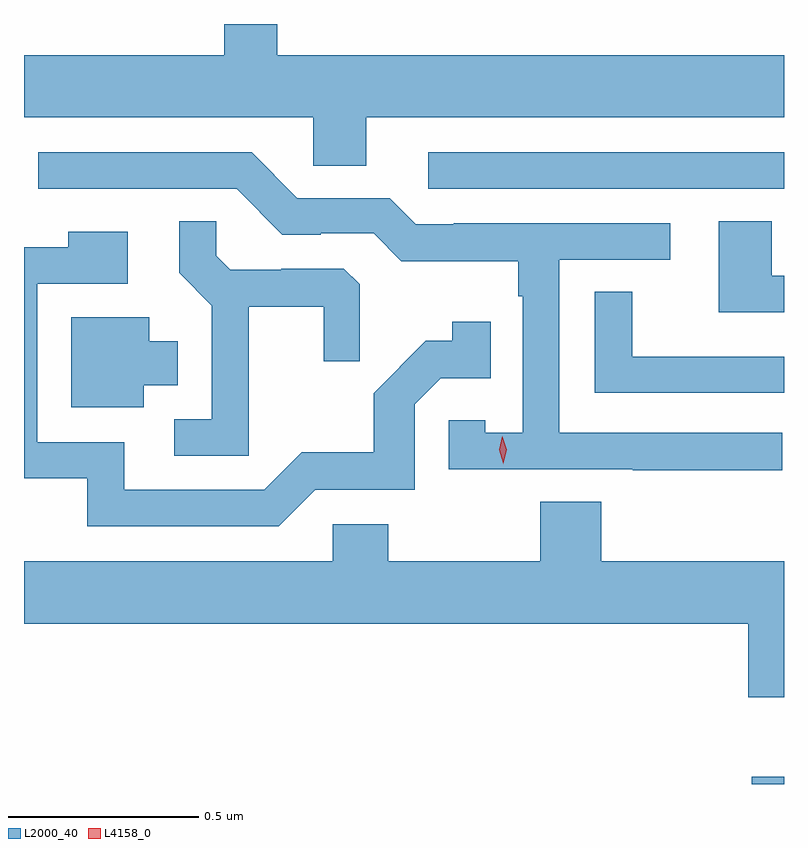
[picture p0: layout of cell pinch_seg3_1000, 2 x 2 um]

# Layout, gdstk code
import gdstk
lib = gdstk.Library(unit=1e-6, precision=1e-09)
def R(c, l, rs):  # rectangles x0, y0, x1, y1
    for r in rs: c.add(gdstk.rectangle(r[:2], r[2:], *l))
def P(c, l, *ps):  # polygons
    for p in ps: c.add(gdstk.Polygon(p, *l))
L2000_40 = (2000, 40)
L4158_0 = (4158, 0)

pinch_seg3_1000 = lib.new_cell('pinch_seg3_1000')
R(pinch_seg3_1000, L2000_40, [(470.36,736.458,470.445,736.477), (469.509,738.024,470.445,738.12)])
P(pinch_seg3_1000, L2000_40, [(469.345,738.212),(470.445,738.212),(470.445,738.376),(469.111,738.376),(469.111,738.458),(468.972,738.458),(468.972,738.376),(468.445,738.376),(468.445,738.212),(469.206,738.212),(469.206,738.085),(469.345,738.085)],
  [(470.44,737.382),(469.854,737.382),(469.854,737.838),(470.146,737.838),(470.146,737.934),(469.576,737.934),(469.576,737.931),(469.476,737.931),(469.407,738),(469.164,738),(469.044,738.12),(468.482,738.12),(468.482,738.024),(469.005,738.024),(469.125,737.904),(469.226,737.904),(469.226,737.907),(469.365,737.907),(469.438,737.834),(469.746,737.834),(469.746,737.741),(469.758,737.741),(469.758,737.383),(469.659,737.383),(469.659,737.415),(469.563,737.415),(469.563,737.286),(470.047,737.286),(470.047,737.284),(470.44,737.284)],
  [(469.037,737.714),(469.234,737.714),(469.234,737.571),(469.328,737.571),(469.328,737.773),(469.287,737.814),(469.122,737.814),(469.122,737.811),(468.988,737.811),(468.951,737.848),(468.951,737.939),(468.853,737.939),(468.853,737.803),(468.939,737.717),(468.939,737.418),(468.84,737.418),(468.84,737.322),(469.037,737.322)],
  [(470.445,737.796),(470.413,737.796),(470.413,737.939),(470.273,737.939),(470.273,737.7),(470.445,737.7)],
  [(469.212,737.232),(469.473,737.232),(469.473,737.457),(469.542,737.526),(469.673,737.526),(469.673,737.674),(469.572,737.674),(469.572,737.624),(469.502,737.624),(469.365,737.486),(469.365,737.331),(469.176,737.331),(469.077,737.232),(468.709,737.232),(468.709,737.358),(468.48,737.358),(468.48,737.775),(468.718,737.775),(468.718,737.911),(468.562,737.911),(468.562,737.871),(468.445,737.871),(468.445,737.262),(468.611,737.262),(468.611,737.136),(469.116,737.136)],
  [(470.445,737.582),(470.441,737.582),(470.441,737.583),(470.046,737.583),(470.046,737.753),(469.947,737.753),(469.947,737.487),(470.445,737.487)],
  [(468.76,737.507),(468.85,737.507),(468.85,737.623),(468.775,737.623),(468.775,737.686),(468.569,737.686),(468.569,737.45),(468.76,737.45)],
  [(470.445,737.044),(469.964,737.044),(469.964,737.201),(469.804,737.201),(469.804,737.044),(469.404,737.044),(469.404,737.142),(469.257,737.142),(469.257,737.044),(468.445,737.044),(468.445,736.88),(470.351,736.88),(470.351,736.686),(470.445,736.686)])
P(pinch_seg3_1000, L4158_0, [(469.706,737.301),(469.706,737.302),(469.695,737.337),(469.703,737.373),(469.704,737.373),(469.704,737.373),(469.715,737.338),(469.706,737.302)])

lib.write_gds('pinch_seg3_1000.gds')
